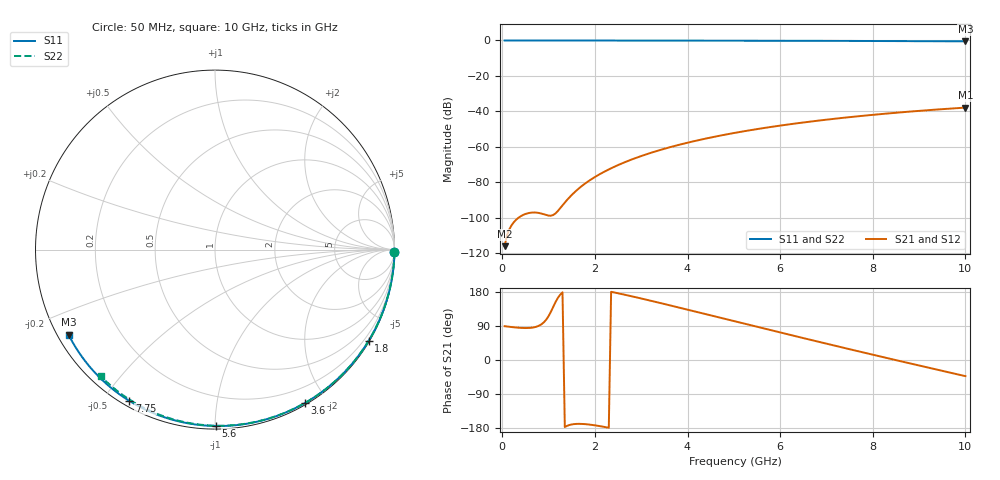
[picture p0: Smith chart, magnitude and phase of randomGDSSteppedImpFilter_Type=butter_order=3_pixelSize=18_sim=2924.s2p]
! freq	dB(S11)	phase(S11)	dB(S12)	phase(S12)
!  dB(S21)	phase(S21)	dB(S22)	phase(S22)
!S-par simulation data
#  GHz  S  DB  R 50
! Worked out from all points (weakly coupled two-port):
!   200 points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, 50 MHz to 10 GHz, reference 50 ohm
!   highest |S21| = -37.88 dB at 10 GHz (marker M1); lowest = -116.0 dB at 50 MHz (marker M2)
!   lowest |S11| = -0.5 dB at 10 GHz (marker M3), VSWR 34.47, Z = 1.56 - j13.5 ohm
!   |S11| at or under -10 dB: nowhere
!   |S22| runs from -0.4 to 0.0 dB; largest |S21 - S12| = 0
!   S11 on the Smith chart (normalised r, x): 50 MHz: open; 1.8 GHz: 0.03, -3.65; 3.6 GHz: 0.02, -1.74; 5.6 GHz: 0.02, -1.00; 7.75 GHz: 0.02, -0.58; 10 GHz: 0.03, -0.27
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0.05  -0.00 -0.9  -116.04 89.2  -116.04 89.2  -0.00 -0.8
0.45  -0.01 -7.8  -98.42 84.4  -98.42 84.4  -0.01 -6.9
0.9  -0.02 -15.5  -98.08 99.7  -98.08 99.7  -0.02 -13.7
1.3  -0.03 -22.3  -93.03 178.6  -93.03 178.6  -0.02 -19.6
1.75  -0.04 -29.8  -81.45 -168.9  -81.45 -168.9  -0.03 -26.3
1.8  -0.04 -30.6  -80.48 -169.4  -80.48 -169.4  -0.03 -27.1
1.85  -0.04 -31.5  -79.56 -170.0  -79.56 -170.0  -0.04 -27.8
2.05  -0.04 -34.8  -76.24 -173.3  -76.24 -173.3  -0.04 -30.7
2.2  -0.05 -37.3  -74.07 -176.5  -74.07 -176.5  -0.04 -32.9
2.55  -0.06 -43.0  -69.73 174.8  -69.73 174.8  -0.05 -38.0
2.95  -0.06 -49.5  -65.65 163.8  -65.65 163.8  -0.06 -43.7
3.4  -0.08 -56.6  -61.85 150.7  -61.85 150.7  -0.07 -50.1
3.6  -0.08 -59.8  -60.36 144.8  -60.36 144.8  -0.07 -52.9
4.3  -0.10 -70.5  -55.87 123.8  -55.87 123.8  -0.09 -62.5
5.05  -0.13 -81.8  -51.99 101.2  -51.99 101.2  -0.11 -72.5
5.6  -0.15 -89.8  -49.59 84.7  -49.59 84.7  -0.13 -79.7
6.15  -0.17 -97.6  -47.48 68.2  -47.48 68.2  -0.15 -86.6
6.7  -0.20 -105.3  -45.61 51.9  -45.61 51.9  -0.18 -93.5
7.75  -0.28 -119.6  -42.59 21.2  -42.59 21.2  -0.24 -106.1
8.35  -0.33 -127.7  -41.12 3.9  -41.12 3.9  -0.29 -113.2
9.2  -0.41 -139.0  -39.31 -20.2  -39.31 -20.2  -0.36 -123.0
10  -0.50 -149.8  -37.88 -42.6  -37.88 -42.6  -0.45 -132.1
